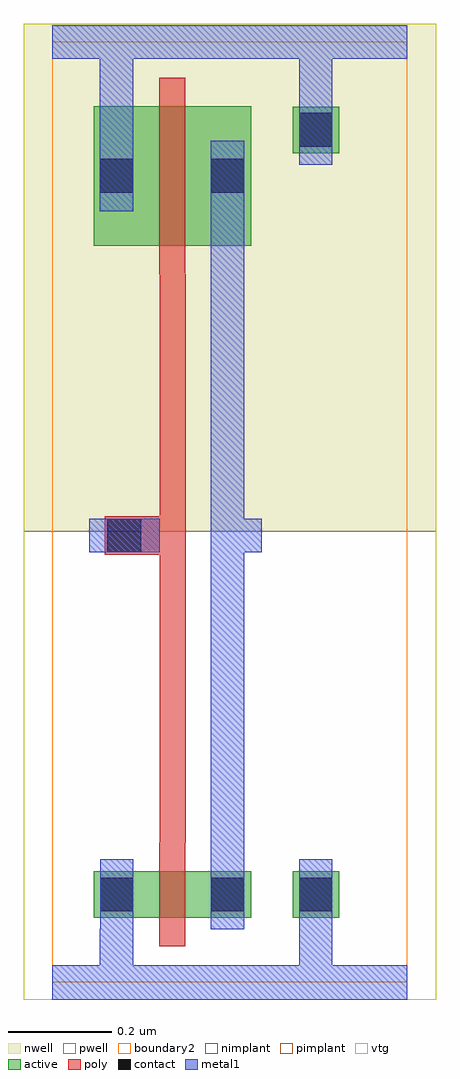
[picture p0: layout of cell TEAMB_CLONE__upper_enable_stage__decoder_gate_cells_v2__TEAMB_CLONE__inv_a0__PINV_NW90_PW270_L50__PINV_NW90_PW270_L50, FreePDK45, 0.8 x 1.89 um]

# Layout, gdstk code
import gdstk
lib = gdstk.Library(unit=1e-6, precision=1e-09)
def R(c, l, rs):  # rectangles x0, y0, x1, y1
    for r in rs: c.add(gdstk.rectangle(r[:2], r[2:], *l))
active = (1, 0)
pwell = (2, 0)
nwell = (3, 0)
nimplant = (4, 0)
pimplant = (5, 0)
vtg = (6, 0)
poly = (9, 0)
contact = (10, 0)
metal1 = (11, 0)
boundary2 = (239, 0)

teamb_clone__upper_enabl = lib.new_cell('TEAMB_CLONE__upper_enable_stage__decoder_gate_cells_v2__TEAMB_CLONE__inv_a0__PINV_NW90_PW270_L50__TRANSMISSION_GATE_NW250_PW500_L50_contact_8')
R(teamb_clone__upper_enabl, active, [(0,0.022,0.09,0.112)])
R(teamb_clone__upper_enabl, nwell, [(-0.055,-0.033,0.145,0.168)])
R(teamb_clone__upper_enabl, pimplant, [(0,0.022,0.09,0.112)])
R(teamb_clone__upper_enabl, contact, [(0.013,0.035,0.077,0.1)])
R(teamb_clone__upper_enabl, metal1, [(0.013,0,0.077,0.135)])
R(teamb_clone__upper_enabl, boundary2, [(-0.055,-0.033,0.145,0.168)])

c_teamb_clone__upper_enabl = lib.new_cell('TEAMB_CLONE__upper_enable_stage__decoder_gate_cells_v2__TEAMB_CLONE__inv_a0__PINV_NW90_PW270_L50__PINV_NW180_PW270_L50_pmos_m1_w0_270_sm1_dm1_da_p')
R(c_teamb_clone__upper_enabl, active, [(0,0,0.305,0.27)])
R(c_teamb_clone__upper_enabl, nwell, [(-0.08,-0.08,0.385,0.35)])
R(c_teamb_clone__upper_enabl, pimplant, [(0,0,0.305,0.27)])
R(c_teamb_clone__upper_enabl, vtg, [(-0.08,-0.08,0.385,0.35)])
R(c_teamb_clone__upper_enabl, poly, [(0.127,-0.055,0.177,0.325), (0.127,-0.055,0.177,0.325)])
R(c_teamb_clone__upper_enabl, metal1, [(0.013,0.068,0.077,0.203), (0.227,0.068,0.292,0.203)])
R(c_teamb_clone__upper_enabl, boundary2, [(-0.08,-0.08,0.385,0.35)])
c_teamb_clone__upper_enabl.add(gdstk.Reference(teamb_clone__upper_enabl, (0,0.068)))
c_teamb_clone__upper_enabl.add(gdstk.Reference(teamb_clone__upper_enabl, (0.215,0.068)))

c_teamb_clone__upper_enabl_ = lib.new_cell('TEAMB_CLONE__upper_enable_stage__decoder_gate_cells_v2__TEAMB_CLONE__inv_a0__PINV_NW90_PW270_L50__TRANSMISSION_GATE_NW250_PW500_L50_contact_7')
R(c_teamb_clone__upper_enabl_, active, [(0,0.022,0.09,0.112)])
R(c_teamb_clone__upper_enabl_, pwell, [(-0.055,-0.033,0.145,0.168)])
R(c_teamb_clone__upper_enabl_, nimplant, [(0,0.022,0.09,0.112)])
R(c_teamb_clone__upper_enabl_, contact, [(0.013,0.035,0.077,0.1)])
R(c_teamb_clone__upper_enabl_, metal1, [(0.013,0,0.077,0.135)])
R(c_teamb_clone__upper_enabl_, boundary2, [(-0.055,-0.033,0.145,0.168)])

c_teamb_clone__upper_enabl__ = lib.new_cell('TEAMB_CLONE__upper_enable_stage__decoder_gate_cells_v2__TEAMB_CLONE__inv_a0__PINV_NW90_PW270_L50__PINV_NW90_PW270_L50_nmos_m1_w0_090_sm1_dm1_da_p')
R(c_teamb_clone__upper_enabl__, active, [(0,0,0.305,0.09)])
R(c_teamb_clone__upper_enabl__, pwell, [(-0.08,-0.08,0.385,0.17)])
R(c_teamb_clone__upper_enabl__, nimplant, [(0,0,0.305,0.09)])
R(c_teamb_clone__upper_enabl__, vtg, [(-0.08,-0.08,0.385,0.17)])
R(c_teamb_clone__upper_enabl__, poly, [(0.127,-0.055,0.177,0.145), (0.127,-0.055,0.177,0.145)])
R(c_teamb_clone__upper_enabl__, metal1, [(0.013,-0.022,0.077,0.112), (0.227,-0.022,0.292,0.112)])
R(c_teamb_clone__upper_enabl__, boundary2, [(-0.08,-0.08,0.385,0.17)])
c_teamb_clone__upper_enabl__.add(gdstk.Reference(c_teamb_clone__upper_enabl_, (0,-0.022)))
c_teamb_clone__upper_enabl__.add(gdstk.Reference(c_teamb_clone__upper_enabl_, (0.215,-0.022)))

c_teamb_clone__upper_enabl___ = lib.new_cell('TEAMB_CLONE__upper_enable_stage__decoder_gate_cells_v2__TEAMB_CLONE__inv_a0__PINV_NW90_PW270_L50__TRANSMISSION_GATE_NW250_PW500_L50_contact_9')
R(c_teamb_clone__upper_enabl___, active, [(0,0.022,0.09,0.112)])
R(c_teamb_clone__upper_enabl___, nwell, [(-0.055,-0.033,0.145,0.168)])
R(c_teamb_clone__upper_enabl___, nimplant, [(0,0.022,0.09,0.112)])
R(c_teamb_clone__upper_enabl___, contact, [(0.013,0.035,0.077,0.1)])
R(c_teamb_clone__upper_enabl___, metal1, [(0.013,0,0.077,0.135)])
R(c_teamb_clone__upper_enabl___, boundary2, [(-0.055,-0.033,0.145,0.168)])

c_teamb_clone__upper_enabl____ = lib.new_cell('TEAMB_CLONE__upper_enable_stage__decoder_gate_cells_v2__TEAMB_CLONE__inv_a0__PINV_NW90_PW270_L50__TRANSMISSION_GATE_NW250_PW500_L50_contact_10')
R(c_teamb_clone__upper_enabl____, active, [(0,0.022,0.09,0.112)])
R(c_teamb_clone__upper_enabl____, pwell, [(-0.055,-0.033,0.145,0.168)])
R(c_teamb_clone__upper_enabl____, pimplant, [(0,0.022,0.09,0.112)])
R(c_teamb_clone__upper_enabl____, contact, [(0.013,0.035,0.077,0.1)])
R(c_teamb_clone__upper_enabl____, metal1, [(0.013,0,0.077,0.135)])
R(c_teamb_clone__upper_enabl____, boundary2, [(-0.055,-0.033,0.145,0.168)])

c_teamb_clone__upper_enabl_____ = lib.new_cell('TEAMB_CLONE__upper_enable_stage__decoder_gate_cells_v2__TEAMB_CLONE__inv_a0__PINV_NW90_PW270_L50__PINV_NW180_PW270_L50_contact_11')
R(c_teamb_clone__upper_enabl_____, poly, [(0.03,0,0.105,0.075)])
R(c_teamb_clone__upper_enabl_____, contact, [(0.035,0.005,0.1,0.07)])
R(c_teamb_clone__upper_enabl_____, metal1, [(0,0.005,0.135,0.07)])
R(c_teamb_clone__upper_enabl_____, boundary2, [(0,0,0.135,0.075)])

c_teamb_clone__upper_enabl______ = lib.new_cell('TEAMB_CLONE__upper_enable_stage__decoder_gate_cells_v2__TEAMB_CLONE__inv_a0__PINV_NW90_PW270_L50__PINV_NW90_PW270_L50_core')
R(c_teamb_clone__upper_enabl______, pwell, [(-0.055,-0.033,0.743,0.873)])
R(c_teamb_clone__upper_enabl______, nwell, [(-0.055,0.873,0.743,1.855)])
R(c_teamb_clone__upper_enabl______, vtg, [(-0.055,-0.033,0.743,0.873), (-0.055,0.873,0.743,1.855)])
R(c_teamb_clone__upper_enabl______, poly, [(0.208,0.27,0.258,1.37), (0.14,0.827,0.208,0.902)])
R(c_teamb_clone__upper_enabl______, metal1, [(0,-0.033,0.687,0.033), (0.092,-0.033,0.157,0.103), (0.478,0,0.542,0.17), (0.307,0.103,0.372,1.627), (0.072,0.832,0.208,0.897), (0.34,0.832,0.405,0.897), (0.092,1.492,0.157,1.852), (0.478,1.65,0.542,1.82), (0,1.787,0.687,1.852)])
R(c_teamb_clone__upper_enabl______, boundary2, [(0,0,0.687,1.82), (0,0,0.687,1.82)])
c_teamb_clone__upper_enabl______.add(gdstk.Reference(c_teamb_clone__upper_enabl, (0.08,1.425)))
c_teamb_clone__upper_enabl______.add(gdstk.Reference(c_teamb_clone__upper_enabl__, (0.08,0.125)))
c_teamb_clone__upper_enabl______.add(gdstk.Reference(c_teamb_clone__upper_enabl___, (0.465,1.582)))
c_teamb_clone__upper_enabl______.add(gdstk.Reference(c_teamb_clone__upper_enabl____, (0.465,0.103)))
c_teamb_clone__upper_enabl______.add(gdstk.Reference(c_teamb_clone__upper_enabl_____, (0.072,0.827)))

c_teamb_clone__upper_enabl_______ = lib.new_cell('TEAMB_CLONE__upper_enable_stage__decoder_gate_cells_v2__TEAMB_CLONE__inv_a0__PINV_NW90_PW270_L50__PINV_NW90_PW270_L50')
R(c_teamb_clone__upper_enabl_______, metal1, [(0,-0.033,0.687,0.033), (0.072,0.832,0.208,0.897), (0.34,0.832,0.405,0.897), (0,1.787,0.687,1.852)])
R(c_teamb_clone__upper_enabl_______, boundary2, [(0,0,0.687,1.82)])
c_teamb_clone__upper_enabl_______.add(gdstk.Reference(c_teamb_clone__upper_enabl______, (0,0)))

lib.write_gds('TEAMB_CLONE__upper_enable_stage__decoder_gate_cells_v2__TEAMB_CLONE__inv_a0__PINV_NW90_PW270_L50__PINV_NW90_PW270_L50.gds')
